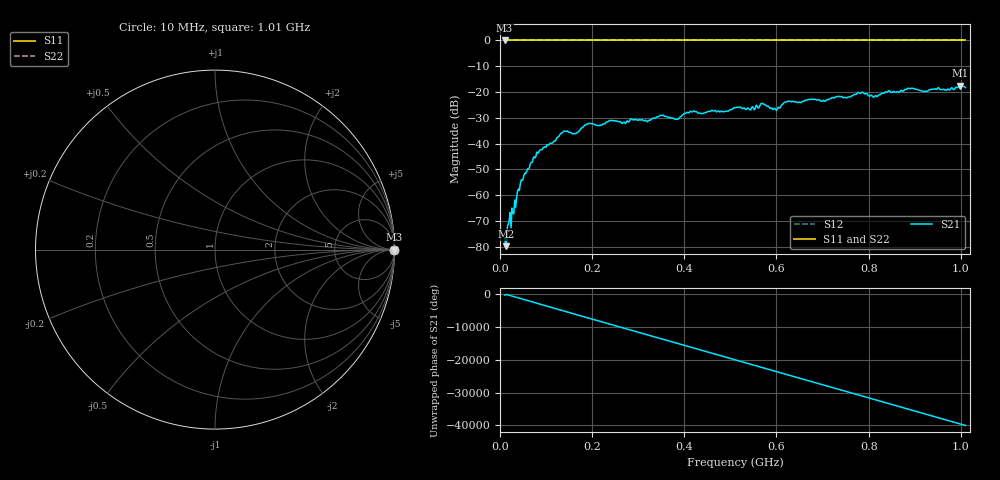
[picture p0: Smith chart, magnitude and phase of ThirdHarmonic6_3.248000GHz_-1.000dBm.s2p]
! 8/17/2025 9:59:25 AM
! C:\ANRITSUVNA\TEMP\TEMP.S2P
! CHANNEL.1
! TR.MEASUREMENT
! RAW.DATA
! RF.CORRECTION.OFF
! AVERAGING.OFF
! IF.BANDWIDTH: 5KHZ
! SWEEPTYPE:  FREQ.SWEEP(Linear)
! Reference Plane Port Info
! PORT:  PORT1  PORT2
! DISTANCE:  0  m  0  m
! TIME:  0  s  0  s
! PHASE.OFFSET:  0  deg.  0  deg.
! LOSS:  0  dB  0  dB
! REF.LOSS:  0  dB  0  dB
! REF.FREQ:  0  Hz  0  Hz
! Power Info
! POWER:  -20  dBm  -20  dBm
! EFF.POWER:  -20  dBm  -20  dBm
! SOURCE.ATTEN:  0  dB  0  dB
! TEST.ATTEN:  0  dB  0  dB
# GHZ S RI R 50.0
! FREQ.GHZ  S11RE  S11IM  S21RE  S21IM  S12RE  S12IM  S22RE  S22IM
!; PortSelection: Port_12
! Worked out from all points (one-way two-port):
!   501 points, 10 MHz to 1.01 GHz, reference 50 ohm
!   highest |S21| = -17.57 dB at 998 MHz (marker M1); lowest = -79.8 dB at 14 MHz (marker M2)
!   lowest |S11| = 0.0 dB at 10 MHz (marker M3)
!   |S11| at or under -10 dB: nowhere
!   |S22| runs from 0.0 to 0.0 dB; largest |S21 - S12| = 1.1
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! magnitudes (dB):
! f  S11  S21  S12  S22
! 10 MHz  0.0  -76.4  0.0  0.0
! 14 MHz  0.0  -79.8  0.0  0.0
! 42 MHz  0.0  -58.1  0.0  0.0
! 76 MHz  0.0  -45.6  0.0  0.0
! 136 MHz  0.0  -35.7  0.0  0.0
! 162 MHz  0.0  -36.1  0.0  0.0
! 178 MHz  0.0  -33.8  0.0  0.0
! 344 MHz  0.0  -29.5  0.0  0.0
! 384 MHz  0.0  -30.6  0.0  0.0
! 416 MHz  0.0  -27.7  0.0  0.0
! 510 MHz  0.0  -26.0  0.0  0.0
! 548 MHz  0.0  -25.7  0.0  0.0
! 570 MHz  0.0  -24.5  0.0  0.0
! 596 MHz  0.0  -26.3  0.0  0.0
! 622 MHz  0.0  -23.7  0.0  0.0
! 678 MHz  0.0  -22.8  0.0  0.0
! 702 MHz  0.0  -23.2  0.0  0.0
! 782 MHz  0.0  -20.6  0.0  0.0
! 814 MHz  0.0  -21.5  0.0  0.0
! 844 MHz  0.0  -19.5  0.0  0.0
! 998 MHz  0.0  -17.6  0.0  0.0
! 1.01 GHz  0.0  -18.3  0.0  0.0
